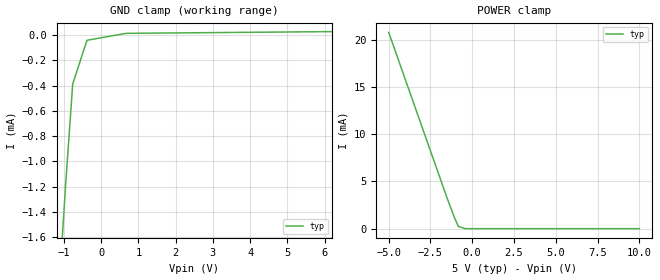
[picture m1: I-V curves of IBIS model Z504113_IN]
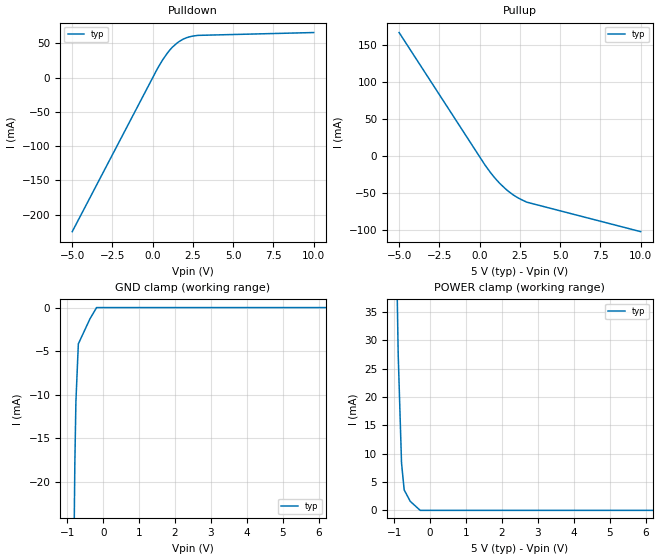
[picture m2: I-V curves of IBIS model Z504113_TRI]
| YOU ARE ONLY AUTHORIZED TO USE THIS SOFTWARE
| ACCORDING TO LICENSOR'S LICENSE RESTRICTIONS.
[IBIS Ver] 3.1
[File Name] mc54hc573aj.ibs
[File Rev] 2.0
[Source] Measured and created by ICX Technology
[Date] Friday 7/14/00 9:08:07 AM
[Copyright]
| (C) COPYRIGHT 1993-2000
| MENTOR GRAPHICS CORPORATION
| ICX STANDARD LIBRARY, ICX PROJECT MODELING,
| ICX CUSTOM MODELING, ICX VENDOR MODEL
| ALL RIGHTS RESERVED.
| THE FOLLOWING ARE TRADEMARKS OR SERVICE MARKS OF
| MENTOR GRAPHICS CORPORATION:ICX (R), ICX STANDARD
| LIBRARY(R), ICX PROJECT MODELING(R), ICX CUSTOM
| MODELING(R), qualityIBIS(TM), MODELVIEWER(TM),
| AND MODELEDITOR(TM)
| ALL COPIES OF SOFTWARE, INCLUDING BUT NOT LIMITED TO
| ANY MODIFICATIONS, ENHANCEMENTS OR DERIVATIVE WORKS,
| MUST CONTAIN ALL MENTOR GRAPHICS CORPORATION'S
| NOTICES AND LEGENDS, INCLUDING THOSE EMBEDDED IN
| SOFTWARE AND THOSE AFFIXED TO SOFTWARE MEDIUM
| AND CONTAINER, AS RECEIVED FROM MENTOR GRAPHICS
| CORPORATION.
|  ZAP Model Builder 2.7
[Component] MC54HC573AJ
[Manufacturer] OnSemiconductor
[Package]
| variable   typ   min   max
R_pkg  .216ohms NA NA
L_pkg  5.76nH NA NA
C_pkg  1.29pF NA NA
[Pin] signal_name  model_name  R_pin  L_pin C_pin
1 _EN Z504113_IN .232 9.76n 1.87p
2 D0 Z504113_IN .224 7.26n 1.58p
3 D1 Z504113_IN .216 5.26n 1.29p
4 D2 Z504113_IN .208 3.76n 1.0p
5 D3 Z504113_IN .2 2.76n .71p
6 D4 Z504113_IN .2 2.76n .71p
7 D5 Z504113_IN .208 3.76n 1.0p
8 D6 Z504113_IN .216 5.26n 1.29p
9 D7 Z504113_IN .224 7.26n 1.58p
10 GND GND .232 9.76n 1.87p
11 CLK Z504113_IN .232 9.76n 1.87p
12 Q7 Z504113_TRI .224 7.26n 1.58p
13 Q6 Z504113_TRI .216 5.26n 1.29p
14 Q5 Z504113_TRI .208 3.76n 1.0p
15 Q4 Z504113_TRI .2 2.76n .71p
16 Q3 Z504113_TRI .2 2.76n .71p
17 Q2 Z504113_TRI .208 3.76n 1.0p
18 Q1 Z504113_TRI .216 5.26n 1.29p
19 Q0 Z504113_TRI .224 7.26n 1.58p
20 VCC POWER .232 9.76n 1.87p
| Models and submodels in the file (2): Z504113_IN (Input), Z504113_TRI (3-state)
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| (C) COPYRIGHT 1993-2000
| MENTOR GRAPHICS CORPORATION
| ICX STANDARD LIBRARY, ICX PROJECT MODELING,
| ICX CUSTOM MODELING, ICX VENDOR MODEL
| ALL RIGHTS RESERVED.
| THE FOLLOWING ARE TRADEMARKS OR SERVICE MARKS OF
| MENTOR GRAPHICS CORPORATION:ICX (R), ICX STANDARD
| LIBRARY(R), ICX PROJECT MODELING(R), ICX CUSTOM
| MODELING(R), qualityIBIS(TM), MODELVIEWER(TM),
| AND MODELEDITOR(TM)
| ALL COPIES OF SOFTWARE, INCLUDING BUT NOT LIMITED TO
| ANY MODIFICATIONS, ENHANCEMENTS OR DERIVATIVE WORKS,
| MUST CONTAIN ALL MENTOR GRAPHICS CORPORATION'S
| NOTICES AND LEGENDS, INCLUDING THOSE EMBEDDED IN
| SOFTWARE AND THOSE AFFIXED TO SOFTWARE MEDIUM
| AND CONTAINER, AS RECEIVED FROM MENTOR GRAPHICS
| CORPORATION.
| Model Application Version 1.89 2/18/99.
[Model] Z504113_IN
Model_type Input
Vinl = 1.000V
Vinh = 3.500V
C_comp 4.000pF NA NA
| variable typ   min   max
[Voltage Range] 5.000V NA NA
[GND Clamp Reference] 0.000V NA NA
[POWER Clamp Reference] 5.000V NA NA
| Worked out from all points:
|   GND clamp passes 1 mA (typ) near -0.91 V on its own axis
|   POWER clamp passes 1 mA (typ) near -1.02 V on its own axis
[GND Clamp]
-5V       -21.16mA   NA         NA
-1.338V   -2.977mA   NA         NA
-957mV    -1.191mA   NA         NA
-765.6mV  -387.8uA   NA         NA
-382.8mV  -42.01uA   NA         NA
667.6mV   12.87uA    NA         NA
10V       36.11uA    NA         NA
[POWER Clamp]
-5V       20.8mA     NA         NA
-1.533V   3.382mA    NA         NA
-1.059V   1.145mA    NA         NA
-829mV    234.2uA    NA         NA
-414.5mV  0A         NA         NA
10V       0A         NA         NA
| (C) COPYRIGHT 1993-2000
| MENTOR GRAPHICS CORPORATION
| ICX STANDARD LIBRARY, ICX PROJECT MODELING,
| ICX CUSTOM MODELING, ICX VENDOR MODEL
| ALL RIGHTS RESERVED.
| THE FOLLOWING ARE TRADEMARKS OR SERVICE MARKS OF
| MENTOR GRAPHICS CORPORATION:ICX (R), ICX STANDARD
| LIBRARY(R), ICX PROJECT MODELING(R), ICX CUSTOM
| MODELING(R), qualityIBIS(TM), MODELVIEWER(TM),
| AND MODELEDITOR(TM)
| ALL COPIES OF SOFTWARE, INCLUDING BUT NOT LIMITED TO
| ANY MODIFICATIONS, ENHANCEMENTS OR DERIVATIVE WORKS,
| MUST CONTAIN ALL MENTOR GRAPHICS CORPORATION'S
| NOTICES AND LEGENDS, INCLUDING THOSE EMBEDDED IN
| SOFTWARE AND THOSE AFFIXED TO SOFTWARE MEDIUM
| AND CONTAINER, AS RECEIVED FROM MENTOR GRAPHICS
| CORPORATION.
| Model Application Version 1.89 2/18/99.
[Model] Z504113_TRI
Model_type 3-state
Vref=0.000V
Rref=500.0Mohms
Cref=50.00pF
Vmeas=2.500V
C_comp 8.000pF NA NA
| variable typ   min   max
[Voltage Range] 5.000V NA NA
[POWER Clamp Reference] 5.000V NA NA
[Pullup Reference] 5.000V NA NA
[Pulldown Reference] 0.000V NA NA
[GND Clamp Reference] 0.000V NA NA
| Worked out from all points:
|   slope of the pulldown table from 0 to 0.75 V, typ, clamps not added: 24.7 ohm
|   slope of the pullup table from 0 to 0.75 V, typ, clamps not added: 31.9 ohm
|   GND clamp passes 1 mA (typ) near -0.33 V on its own axis
[GND Clamp]
-5V       -1.732A    NA         NA
-790.9mV  -17.88mA   NA         NA
-760.9mV  -10.74mA   NA         NA
-693.3mV  -4.161mA   NA         NA
-370.9mV  -1.301mA   NA         NA
-185.5mV  0A         NA         NA
10V       0A         NA         NA
[Pulldown]
-5V       -224.8mA   NA         NA
293mV     13.26mA    NA         NA
904.4mV   35.72mA    NA         NA
1.216V    44.41mA    NA         NA
1.509V    50.51mA    NA         NA
2.1V      58.31mA    NA         NA
2.773V    61.74mA    NA         NA
10V       65.9mA     NA         NA
[Pullup]
-5V       167.5mA    NA         NA
332mV     -12.14mA   NA         NA
913mV     -28.97mA   NA         NA
1.65V     -45.36mA   NA         NA
2.295V    -55.62mA   NA         NA
2.908V    -62.51mA   NA         NA
10V       -102.6mA   NA         NA
[POWER Clamp]
-5V       1.6A       NA         NA
-889mV    27.5mA     NA         NA
-796mV    8.354mA    NA         NA
-722mV    3.597mA    NA         NA
-554mV    1.597mA    NA         NA
-277mV    0A         NA         NA
10V       0A         NA         NA
[Ramp]
| variable typ min max
dV/dt_r 2.849/1.199n NA NA
dV/dt_f 2.849/1.019n NA NA
R_load = 500.0Ohms
